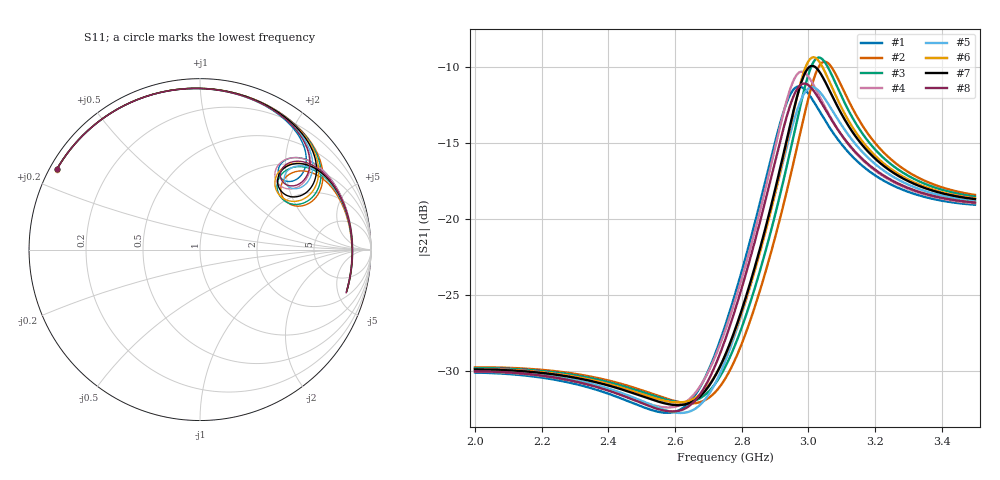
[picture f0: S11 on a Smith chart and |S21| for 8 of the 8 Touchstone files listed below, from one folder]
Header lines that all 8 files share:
! Touchstone file exported from HFSS 2022.1.0
!  Design:  HFSSDesign1
!  Setup:  Setup1
!  Solution:  Sweep
! Variables:
! Terminal data exported
! Port[1] = ground_T1
! Port[2] = ground_T2
# GHz S MA R 50.000000
Fixed: WS = 5mm, ax = 15mm, az = 3.18mm, azd = 3mm, bx = 13mm, bx2 = 12.5mm, bx3 = 3.16mm, cin = 27.8mm, gap = 0.7mm, mid = 3mm, shift = 21.24mm, strip_1L = 18.62mm, substrate_L = 80mm, substrate_W = 70mm, t = 3mm, w50 = 9.18mm, wt = 1mm, xs = 0.8mm, zzz = 8mm
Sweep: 2 GHz to 3.5 GHz
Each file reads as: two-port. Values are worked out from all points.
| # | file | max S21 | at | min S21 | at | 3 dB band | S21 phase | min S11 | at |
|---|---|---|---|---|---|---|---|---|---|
| 1 | EG_Leaf.s2p | -11.30 dB | 2.972 GHz | -32.8 dB | 2.576 GHz | 2.91 GHz-3.072 GHz | -17 deg at 2.75 GHz | -4.0 dB | 2.962 GHz |
| 2 | Eg_Seed.s2p | -9.68 dB | 3.05 GHz | -32.2 dB | 2.646 GHz | 2.994 GHz-3.13 GHz | 17 deg at 2.75 GHz | -4.8 dB | 3.042 GHz |
| 3 | Ga_seed.s2p | -9.40 dB | 3.032 GHz | -32.1 dB | 2.626 GHz | 2.978 GHz-3.108 GHz | 11 deg at 2.75 GHz | -5.0 dB | 3.026 GHz |
| 4 | GA_Stem.s2p | -10.33 dB | 2.98 GHz | -32.4 dB | 2.58 GHz | 2.924 GHz-3.066 GHz | -10 deg at 2.75 GHz | -4.5 dB | 2.972 GHz |
| 5 | NG_Leaf.s2p | -11.35 dB | 3.012 GHz | -32.8 dB | 2.618 GHz | 2.948 GHz-3.114 GHz | -3 deg at 2.75 GHz | -4.0 dB | 3 GHz |
| 6 | Ng_seed_2nd.s2p | -9.38 dB | 3.016 GHz | -32.1 dB | 2.61 GHz | 2.962 GHz-3.092 GHz | 5 deg at 2.75 GHz | -5.0 dB | 3.01 GHz |
| 7 | P_Seed_2nd.s2p | -9.95 dB | 3.012 GHz | -32.3 dB | 2.608 GHz | 2.956 GHz-3.094 GHz | 2 deg at 2.75 GHz | -4.7 dB | 3.004 GHz |
| 8 | P_Stem.s2p | -11.11 dB | 2.988 GHz | -32.7 dB | 2.592 GHz | 2.926 GHz-3.086 GHz | -11 deg at 2.75 GHz | -4.1 dB | 2.978 GHz |
